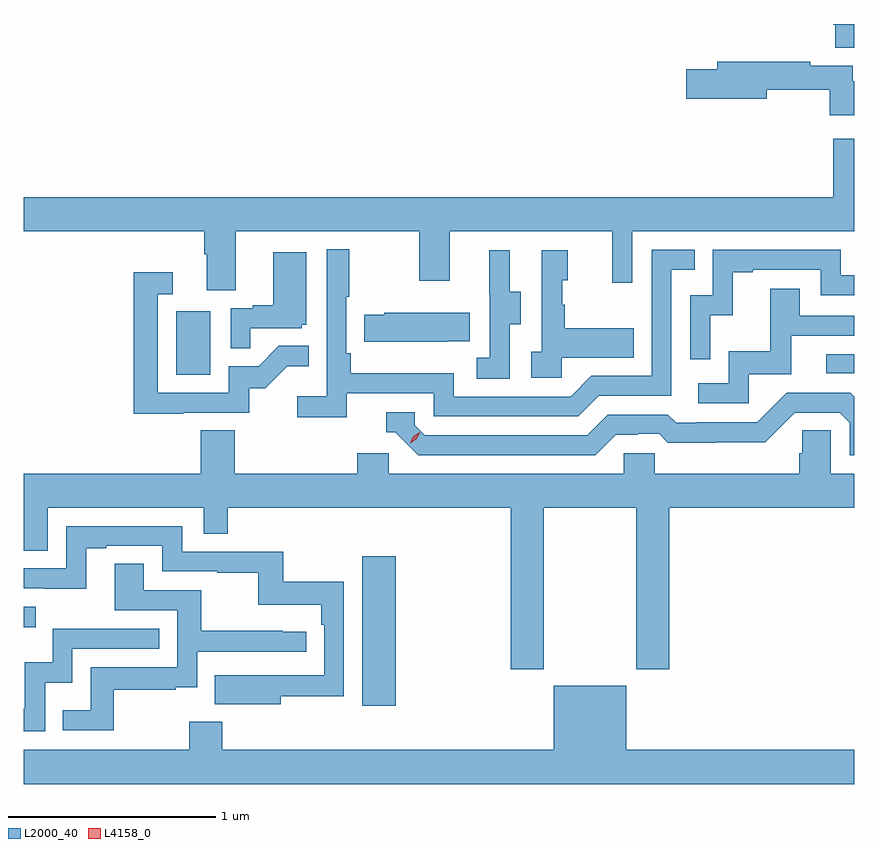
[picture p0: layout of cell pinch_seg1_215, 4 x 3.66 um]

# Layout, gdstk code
import gdstk
lib = gdstk.Library(unit=1e-6, precision=1e-09)
def R(c, l, rs):  # rectangles x0, y0, x1, y1
    for r in rs: c.add(gdstk.rectangle(r[:2], r[2:], *l))
def P(c, l, *ps):  # polygons
    for p in ps: c.add(gdstk.Polygon(p, *l))
L2000_40 = (2000, 40)
L4158_0 = (4158, 0)

pinch_seg1_215 = lib.new_cell('pinch_seg1_215')
R(pinch_seg1_215, L2000_40, [(999.161,569.424,999.322,570.145), (997.53,569.804,997.588,569.901), (998.264,571.02,998.428,571.327), (1001.397,571.026,1001.53,571.119)])
P(pinch_seg1_215, L2000_40, [(1001.53,572.71),(1001.43,572.71),(1001.43,572.707),(1001.44,572.707),(1001.44,572.595),(1001.53,572.595)],
  [(1001.53,572.433),(1001.524,572.433),(1001.524,572.508),(1001.318,572.508),(1001.318,572.528),(1000.871,572.528),(1000.871,572.492),(1000.722,572.492),(1000.722,572.35),(1001.11,572.35),(1001.11,572.392),(1001.414,572.392),(1001.414,572.27),(1001.53,572.27)],
  [(998.551,571.712),(999.436,571.712),(999.436,571.473),(999.583,571.473),(999.583,571.712),(1000.364,571.712),(1000.364,571.464),(1000.461,571.464),(1000.461,571.712),(1001.53,571.712),(1001.53,572.158),(1001.43,572.158),(1001.43,571.876),(997.53,571.876),(997.53,571.712),(998.399,571.712),(998.399,571.6),(998.411,571.6),(998.411,571.426),(998.551,571.426)],
  [(999.086,570.93),(999.504,570.93),(999.504,570.819),(1000.201,570.819),(1000.3,570.918),(1000.65,570.918),(1000.65,571.527),(1000.763,571.527),(1000.763,571.623),(1000.554,571.623),(1000.554,571.014),(1000.263,571.014),(1000.164,570.915),(999.6,570.915),(999.6,571.027),(999.104,571.027),(999.104,571.123),(999.084,571.123),(999.084,571.396),(999.097,571.396),(999.097,571.624),(998.988,571.624),(998.988,570.916),(998.847,570.916),(998.847,570.814),(999.086,570.814)],
  [(1000.836,571.307),(1000.946,571.307),(1000.946,571.515),(1001.041,571.515),(1001.041,571.527),(1001.37,571.527),(1001.37,571.404),(1001.53,571.404),(1001.53,571.5),(1001.466,571.5),(1001.466,571.623),(1000.848,571.623),(1000.848,571.404),(1000.74,571.404),(1000.74,571.095),(1000.836,571.095)],
  [(1000.122,571.103),(1000.469,571.103),(1000.469,571.243),(1000.135,571.243),(1000.135,571.358),(1000.125,571.358),(1000.125,571.476),(1000.15,571.476),(1000.15,571.621),(1000.026,571.621),(1000.026,571.13),(999.975,571.13),(999.975,571.005),(1000.122,571.005)],
  [(999.87,571.264),(999.925,571.264),(999.925,571.419),(999.871,571.419),(999.871,571.621),(999.773,571.621),(999.773,571.407),(999.774,571.407),(999.774,571.103),(999.711,571.103),(999.711,571),(999.87,571)],
  [(998.621,571.245),(998.868,571.245),(998.868,571.26),(998.89,571.26),(998.89,571.609),(998.732,571.609),(998.732,571.354),(998.633,571.354),(998.633,571.341),(998.526,571.341),(998.526,571.147),(998.621,571.147)],
  [(998.297,570.837),(998.616,570.837),(998.616,570.954),(998.692,570.954),(998.799,571.061),(998.903,571.061),(998.903,571.16),(998.759,571.16),(998.661,571.062),(998.517,571.062),(998.517,570.933),(998.175,570.933),(998.175,571.407),(998.248,571.407),(998.248,571.513),(998.059,571.513),(998.059,570.832),(998.297,570.832)],
  [(1001.022,571.023),(1001.227,571.023),(1001.227,571.209),(1001.53,571.209),(1001.53,571.305),(1001.269,571.305),(1001.269,571.435),(1001.125,571.435),(1001.125,571.132),(1000.926,571.132),(1000.926,570.978),(1000.779,570.978),(1000.779,570.882),(1001.022,570.882)],
  [(999.569,571.181),(999.677,571.181),(999.677,571.318),(999.267,571.318),(999.267,571.308),(999.169,571.308),(999.169,571.178),(999.569,571.178)],
  [(1000.381,570.732),(1000.488,570.732),(1000.488,570.735),(1000.591,570.735),(1000.633,570.693),(1000.866,570.693),(1000.866,570.695),(1001.102,570.695),(1001.244,570.837),(1001.46,570.837),(1001.508,570.789),(1001.508,570.633),(1001.53,570.633),(1001.53,570.914),(1001.511,570.933),(1001.205,570.933),(1001.064,570.792),(1000.771,570.792),(1000.771,570.789),(1000.672,570.789),(1000.633,570.828),(1000.344,570.828),(1000.245,570.729),(999.462,570.729),(999.414,570.777),(999.414,570.84),(999.275,570.84),(999.275,570.744),(999.318,570.744),(999.429,570.633),(1000.282,570.633)],
  [(1000.48,569.601),(1000.64,569.601),(1000.64,570.38),(1001.53,570.38),(1001.53,570.544),(1001.418,570.544),(1001.418,570.752),(1001.281,570.752),(1001.281,570.642),(1001.267,570.642),(1001.267,570.544),(1000.569,570.544),(1000.569,570.642),(1000.419,570.642),(1000.419,570.544),(999.288,570.544),(999.288,570.642),(999.137,570.642),(999.137,570.544),(998.546,570.544),(998.546,570.752),(998.381,570.752),(998.381,570.544),(997.53,570.544),(997.53,570.172),(997.645,570.172),(997.645,570.38),(998.397,570.38),(998.397,570.253),(998.513,570.253),(998.513,570.38),(999.875,570.38),(999.875,569.601),(1000.035,569.601),(1000.035,570.38),(1000.48,570.38)],
  [(998.767,569.47),(999.072,569.47),(999.072,570.022),(998.779,570.022),(998.779,570.168),(998.292,570.168),(998.292,570.291),(997.734,570.291),(997.734,570.087),(997.53,570.087),(997.53,569.991),(997.626,569.991),(997.626,569.99),(997.831,569.99),(997.831,570.183),(997.927,570.183),(997.927,570.195),(998.196,570.195),(998.196,570.072),(998.461,570.072),(998.461,570.067),(998.658,570.067),(998.658,569.912),(998.963,569.912),(998.963,569.816),(998.976,569.816),(998.976,569.571),(998.663,569.571),(998.663,569.572),(998.449,569.572),(998.449,569.432),(998.767,569.432)],
  [(997.963,569.502),(998.261,569.502),(998.261,569.513),(998.364,569.513),(998.364,569.685),(998.89,569.685),(998.89,569.781),(998.777,569.781),(998.777,569.786),(998.384,569.786),(998.384,569.982),(998.107,569.982),(998.107,570.11),(997.967,570.11),(997.967,569.886),(998.268,569.886),(998.268,569.61),(997.852,569.61),(997.852,569.404),(997.717,569.404),(997.717,569.307),(997.963,569.307)],
  [(997.632,569.537),(997.764,569.537),(997.764,569.7),(998.183,569.7),(998.183,569.796),(997.668,569.796),(997.668,569.635),(997.535,569.635),(997.535,569.41),(997.53,569.41),(997.53,569.301),(997.632,569.301)],
  [(1001.53,569.212),(1000.432,569.212),(1000.432,569.521),(1000.082,569.521),(1000.082,569.212),(998.486,569.212),(998.486,569.347),(998.326,569.347),(998.326,569.212),(997.53,569.212),(997.53,569.048),(1001.53,569.048)])
P(pinch_seg1_215, L4158_0, [(999.391,570.691),(999.391,570.691),(999.407,570.724),(999.437,570.744),(999.438,570.744),(999.438,570.743),(999.422,570.711),(999.391,570.691)])

lib.write_gds('pinch_seg1_215.gds')
